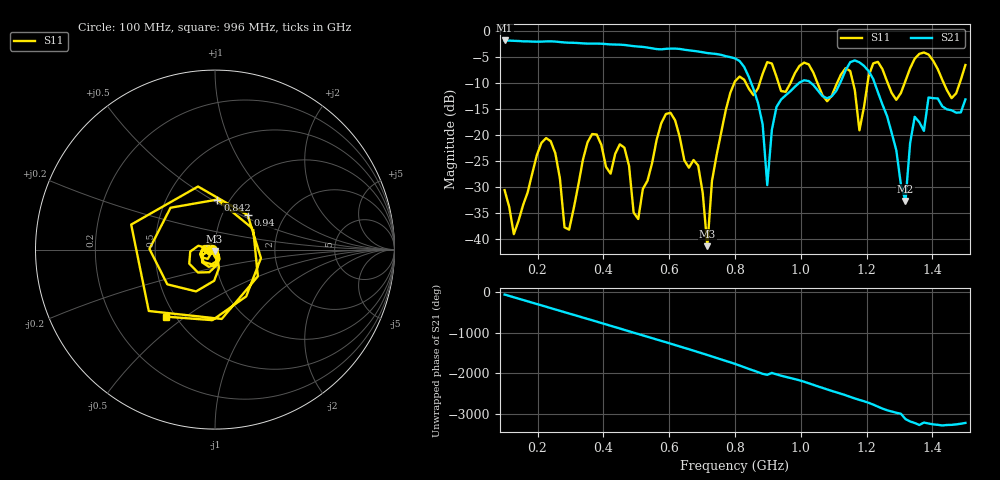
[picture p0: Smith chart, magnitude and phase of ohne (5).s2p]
! NanoVNA-App
! Date: 2025-09-25 14:20:50
! Start: 100MHz Stop: 1,5GHz Points: 101
! S-Parameter data: F S11 S21 S12 S22
# Hz S RI R 50
!  Frequency  S11_Real  S11_Imag  S21_Real  S21_Imag  S12_Real  S12_Imag  S22_Real  S22_Imag
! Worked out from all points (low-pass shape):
!   101 points, 100 MHz to 1.5 GHz, reference 50 ohm
!   highest |S21| = -1.79 dB at 100 MHz (marker M1); lowest = -32.7 dB at 1.318 GHz (marker M2)
!   |S21| within 3 dB of the highest: start of sweep to 770.3 MHz
!   lowest |S11| = -41.4 dB at 716 MHz (marker M3), VSWR 1.02, Z = 49.8 - j0.817 ohm
!   |S11| at or under -10 dB: start of sweep to 797.8 MHz; 833.2 MHz to 875.1 MHz (41.87 MHz wide, 4.9 % of centre); 1.051 GHz to 1.11 GHz (59.42 MHz wide, 5.5 % of centre) (the widest 3 of 7)
!   S12 and S22 are empty: the file has one direction only
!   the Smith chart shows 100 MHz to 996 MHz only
!   S11 on the Smith chart (normalised r, x): 100 MHz: 0.94, -0.01; 842 MHz: 0.88, +0.53; 940 MHz: 1.32, +0.54; 996 MHz: 0.45, -0.42
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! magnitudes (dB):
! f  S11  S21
! 100 MHz  -30.6  -1.8
! 128 MHz  -39.1  -1.9
! 226 MHz  -20.6  -2.0
! 296 MHz  -38.2  -2.2
! 338 MHz  -24.8  -2.4
! 464 MHz  -22.5  -2.7
! 506 MHz  -36.2  -3.0
! 576 MHz  -17.7  -3.5
! 688 MHz  -25.9  -3.9
! 716 MHz  -41.4  -4.2
! 800 MHz  -9.7  -5.2
! 842 MHz  -11.1  -8.8
! 898 MHz  -6.0  -29.7
! 940 MHz  -11.5  -13.2
! 996 MHz  -6.7  -9.9
! 1.038 GHz  -8.0  -10.4
! 1.178 GHz  -19.1  -6.0
! 1.22 GHz  -6.2  -9.2
! 1.276 GHz  -11.9  -19.6
! 1.318 GHz  -9.6  -32.7
! 1.346 GHz  -5.3  -16.5
! 1.5 GHz  -6.5  -13.2
